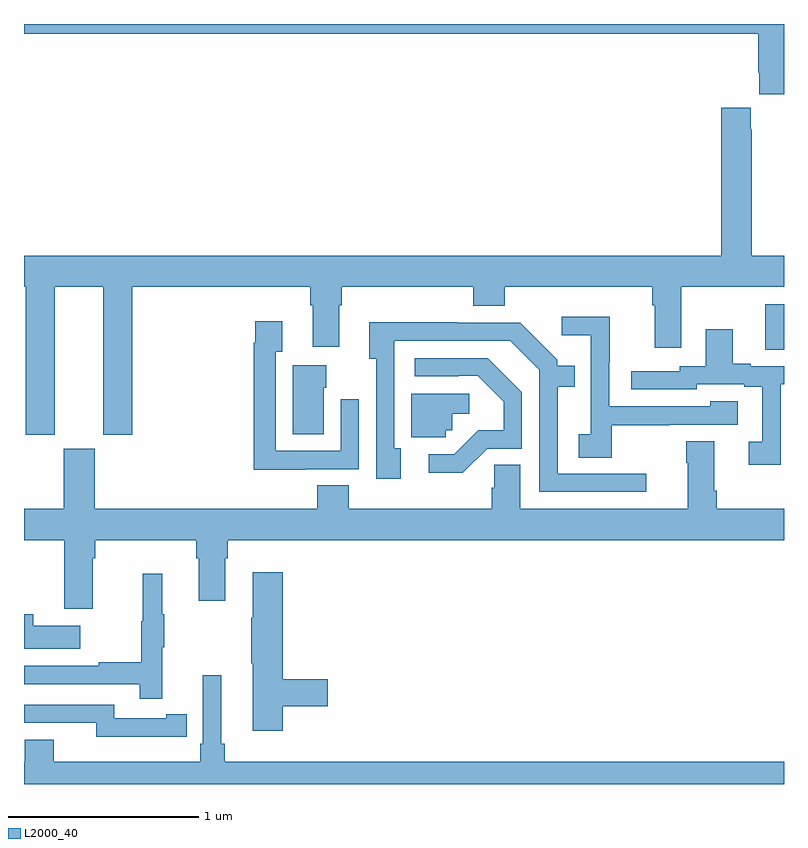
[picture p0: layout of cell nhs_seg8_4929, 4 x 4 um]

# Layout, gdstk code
import gdstk
lib = gdstk.Library(unit=1e-6, precision=1e-09)
def R(c, l, rs):  # rectangles x0, y0, x1, y1
    for r in rs: c.add(gdstk.rectangle(r[:2], r[2:], *l))
def P(c, l, *ps):  # polygons
    for p in ps: c.add(gdstk.Polygon(p, *l))
L2000_40 = (2000, 40)

nhs_seg8_4929 = lib.new_cell('nhs_seg8_4929')
R(nhs_seg8_4929, L2000_40, [(412.901,1100.185,413,1100.424)])
P(nhs_seg8_4929, L2000_40, [(413,1101.9),(409,1101.9),(409,1101.848),(412.865,1101.848),(412.865,1101.643),(412.871,1101.643),(412.871,1101.531),(413,1101.531)],
  [(409.162,1100.516),(409.418,1100.516),(409.418,1099.737),(409.571,1099.737),(409.571,1100.516),(410.507,1100.516),(410.507,1100.42),(410.519,1100.42),(410.519,1100.202),(410.659,1100.202),(410.659,1100.42),(410.672,1100.42),(410.672,1100.516),(411.365,1100.516),(411.365,1100.417),(411.53,1100.417),(411.53,1100.516),(412.307,1100.516),(412.307,1100.42),(412.319,1100.42),(412.319,1100.196),(412.459,1100.196),(412.459,1100.516),(413,1100.516),(413,1100.68),(412.83,1100.68),(412.83,1101.347),(412.825,1101.347),(412.825,1101.46),(412.67,1101.46),(412.67,1100.68),(409,1100.68),(409,1100.516),(409.01,1100.516),(409.01,1099.737),(409.162,1099.737)],
  [(412.093,1099.789),(412.397,1099.789),(412.397,1099.791),(412.756,1099.791),(412.756,1099.915),(412.611,1099.915),(412.611,1099.887),(412.08,1099.887),(412.08,1100.12),(412.083,1100.12),(412.083,1100.359),(411.831,1100.359),(411.831,1100.261),(411.984,1100.261),(411.984,1099.74),(411.921,1099.74),(411.921,1099.618),(412.093,1099.618)],
  [(410.479,1099.557),(410.763,1099.557),(410.763,1099.924),(410.667,1099.924),(410.667,1099.653),(410.325,1099.653),(410.325,1100.174),(410.359,1100.174),(410.359,1100.335),(410.217,1100.335),(410.217,1100.222),(410.209,1100.222),(410.209,1099.553),(410.479,1099.553)],
  [(412.276,1099.533),(411.808,1099.533),(411.808,1099.992),(411.899,1099.992),(411.899,1100.101),(411.807,1100.101),(411.807,1100.133),(411.612,1100.328),(411.281,1100.328),(411.281,1100.33),(410.816,1100.33),(410.816,1100.138),(410.853,1100.138),(410.853,1099.506),(410.983,1099.506),(410.983,1099.666),(410.949,1099.666),(410.949,1100.232),(411.558,1100.232),(411.711,1100.079),(411.711,1099.437),(412.276,1099.437)],
  [(412.983,1100.004),(413,1100.004),(413,1100.1),(412.825,1100.1),(412.825,1100.113),(412.729,1100.113),(412.729,1100.293),(412.589,1100.293),(412.589,1100.1),(412.452,1100.1),(412.452,1100.073),(412.197,1100.073),(412.197,1099.977),(412.542,1099.977),(412.542,1100.004),(412.79,1100.004),(412.79,1099.992),(412.886,1099.992),(412.886,1099.701),(412.815,1099.701),(412.815,1099.581),(412.983,1099.581)],
  [(411.438,1099.665),(411.621,1099.665),(411.621,1099.963),(411.442,1100.142),(411.057,1100.142),(411.057,1100.046),(411.287,1100.046),(411.287,1100.049),(411.387,1100.049),(411.524,1099.912),(411.524,1099.762),(411.391,1099.762),(411.264,1099.635),(411.129,1099.635),(411.129,1099.538),(411.31,1099.538)],
  [(410.578,1099.986),(410.59,1099.986),(410.59,1100.104),(410.414,1100.104),(410.414,1099.74),(410.578,1099.74)],
  [(411.219,1099.761),(411.255,1099.761),(411.255,1099.85),(411.343,1099.85),(411.343,1099.953),(411.038,1099.953),(411.038,1099.725),(411.219,1099.725)],
  [(409.363,1099.088),(409.376,1099.088),(409.376,1099.184),(409.907,1099.184),(409.907,1099.088),(409.919,1099.088),(409.919,1098.864),(410.059,1098.864),(410.059,1099.088),(410.072,1099.088),(410.072,1099.184),(413,1099.184),(413,1099.348),(412.646,1099.348),(412.646,1099.444),(412.633,1099.444),(412.633,1099.705),(412.486,1099.705),(412.486,1099.592),(412.493,1099.592),(412.493,1099.348),(411.613,1099.348),(411.613,1099.58),(411.475,1099.58),(411.475,1099.458),(411.461,1099.458),(411.461,1099.348),(410.708,1099.348),(410.708,1099.472),(410.543,1099.472),(410.543,1099.348),(409.372,1099.348),(409.372,1099.665),(409.208,1099.665),(409.208,1099.348),(409,1099.348),(409,1099.184),(409.211,1099.184),(409.211,1098.822),(409.363,1098.822)],
  [(410.363,1098.31),(410.599,1098.31),(410.599,1098.452),(410.363,1098.452),(410.363,1099.015),(410.204,1099.015),(410.204,1098.776),(410.197,1098.776),(410.197,1098.535),(410.204,1098.535),(410.204,1098.18),(410.363,1098.18)],
  [(409.727,1098.619),(409.738,1098.619),(409.738,1098.793),(409.727,1098.793),(409.727,1099.006),(409.624,1099.006),(409.624,1098.756),(409.617,1098.756),(409.617,1098.542),(409.393,1098.542),(409.393,1098.522),(409,1098.522),(409,1098.426),(409.609,1098.426),(409.609,1098.348),(409.727,1098.348)],
  [(409.297,1098.733),(409.049,1098.733),(409.049,1098.793),(409,1098.793),(409,1098.611),(409.297,1098.611)],
  [(413,1098.016),(410.057,1098.016),(410.057,1098.112),(410.038,1098.112),(410.038,1098.472),(409.941,1098.472),(409.941,1098.112),(409.928,1098.112),(409.928,1098.016),(409.156,1098.016),(409.156,1098.133),(409.004,1098.133),(409.004,1098.016),(409,1098.016),(409,1097.9),(413,1097.9)],
  [(409.748,1098.15),(409.856,1098.15),(409.856,1098.266),(409.748,1098.266),(409.748,1098.246),(409.476,1098.246),(409.476,1098.318),(409,1098.318),(409,1098.222),(409.38,1098.222),(409.38,1098.149),(409.748,1098.149)])

lib.write_gds('nhs_seg8_4929.gds')
